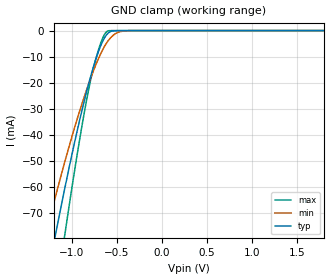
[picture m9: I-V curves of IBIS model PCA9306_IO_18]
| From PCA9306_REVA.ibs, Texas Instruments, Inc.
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[Model]   PCA9306_IO_18
Model_type  Terminator
| variable   typ   min   max
C_comp   2.75pF   2.40pF   3.22pF
| C_tri-state   2.75pF   2.40pF   3.22pF
[Temperature Range]   40   100   -40
| Ambient temperature   25   85   -40
[Voltage range]   1.8   1.65   1.95
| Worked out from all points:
|   GND clamp passes 1 mA (typ) near -0.59 V on its own axis
[GND Clamp]
| PCA9306_IO_18
|   Voltage   I(typ)   I(min)   I(max)
-1.8V     -199mA     -155.3mA   -267.3mA
-1.285V   -97.6mA    -78.12mA   -129.7mA
-1.18V    -78.63mA   -63.89mA   -103.5mA
-1.16V    -75.11mA   -61.25mA   -98.65mA
-1.08V    -61.36mA   -50.98mA   -79.54mA
-1.06V    -58.02mA   -48.48mA   -74.88mA
-900mV    -32.89mA   -29.77mA   -39.72mA
-785mV    -17.27mA   -18.04mA   -18.52mA
-680mV    -6.109mA   -9.157mA   -5.225mA
-600mV    -1.21mA    -4.203mA   -179.9uA
-380mV    -1.17uA    -64.95uA   -13.15nA
1.8V      22.1pA     2.885nA    8.051pA
